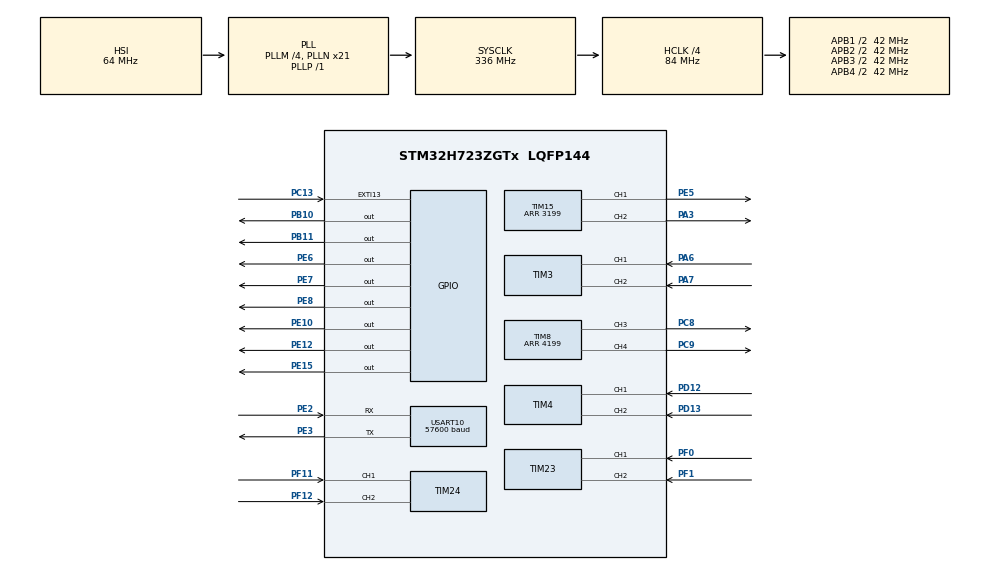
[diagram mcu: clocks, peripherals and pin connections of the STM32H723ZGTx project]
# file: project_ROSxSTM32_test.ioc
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Dma.Request0=USART10_RX
Dma.Request1=USART10_TX
Dma.USART10_RX.0.Direction=DMA_PERIPH_TO_MEMORY
Dma.USART10_RX.0.EventEnable=DISABLE
Dma.USART10_RX.0.FIFOMode=DMA_FIFOMODE_DISABLE
Dma.USART10_RX.0.Instance=DMA1_Stream0
Dma.USART10_RX.0.MemDataAlignment=DMA_MDATAALIGN_BYTE
Dma.USART10_RX.0.MemInc=DMA_MINC_ENABLE
Dma.USART10_RX.0.Mode=DMA_CIRCULAR
Dma.USART10_RX.0.PeriphDataAlignment=DMA_PDATAALIGN_BYTE
Dma.USART10_RX.0.PeriphInc=DMA_PINC_DISABLE
Dma.USART10_RX.0.Polarity=HAL_DMAMUX_REQ_GEN_RISING
Dma.USART10_RX.0.Priority=DMA_PRIORITY_HIGH
Dma.USART10_RX.0.RequestNumber=1
Dma.USART10_RX.0.SignalID=NONE
Dma.USART10_RX.0.SyncEnable=DISABLE
Dma.USART10_RX.0.SyncPolarity=HAL_DMAMUX_SYNC_NO_EVENT
Dma.USART10_RX.0.SyncRequestNumber=1
Dma.USART10_RX.0.SyncSignalID=NONE
Dma.USART10_TX.1.Direction=DMA_MEMORY_TO_PERIPH
Dma.USART10_TX.1.EventEnable=DISABLE
Dma.USART10_TX.1.FIFOMode=DMA_FIFOMODE_DISABLE
Dma.USART10_TX.1.Instance=DMA1_Stream1
Dma.USART10_TX.1.MemDataAlignment=DMA_MDATAALIGN_BYTE
Dma.USART10_TX.1.MemInc=DMA_MINC_ENABLE
Dma.USART10_TX.1.Mode=DMA_NORMAL
Dma.USART10_TX.1.PeriphDataAlignment=DMA_PDATAALIGN_BYTE
Dma.USART10_TX.1.PeriphInc=DMA_PINC_DISABLE
Dma.USART10_TX.1.Polarity=HAL_DMAMUX_REQ_GEN_RISING
Dma.USART10_TX.1.Priority=DMA_PRIORITY_HIGH
Dma.USART10_TX.1.RequestNumber=1
Dma.USART10_TX.1.SignalID=NONE
Dma.USART10_TX.1.SyncEnable=DISABLE
Dma.USART10_TX.1.SyncPolarity=HAL_DMAMUX_SYNC_NO_EVENT
Dma.USART10_TX.1.SyncRequestNumber=1
Dma.USART10_TX.1.SyncSignalID=NONE
Mcu.Family=STM32H7
Mcu.Name=STM32H723ZGTx
Mcu.Package=LQFP144
NVIC.DMA1_Stream0_IRQn=true\:0\:0\:false\:false\:true\:false\:true\:true
NVIC.DMA1_Stream1_IRQn=true\:0\:0\:false\:false\:true\:false\:true\:true
NVIC.EXTI15_10_IRQn=true\:0\:0\:false\:false\:true\:true\:true\:true
NVIC.PriorityGroup=NVIC_PRIORITYGROUP_4
NVIC.RCC_IRQn=true\:0\:0\:false\:false\:true\:true\:false\:true
NVIC.TIM2_IRQn=true\:0\:0\:false\:false\:true\:true\:true\:true
NVIC.TIM5_IRQn=true\:0\:0\:false\:false\:true\:true\:true\:true
NVIC.USART10_IRQn=true\:0\:0\:false\:false\:true\:true\:true\:true
PA3.Signal=S_TIM15_CH2
PA6.Signal=S_TIM3_CH1
PA7.Signal=S_TIM3_CH2
PB10.Signal=GPIO_Output
PB11.Signal=GPIO_Output
PC13.Signal=GPXTI13
PC8.Signal=S_TIM8_CH3
PC9.Signal=S_TIM8_CH4
PD12.Signal=S_TIM4_CH1
PD13.Signal=S_TIM4_CH2
PE10.Signal=GPIO_Output
PE12.Signal=GPIO_Output
PE15.Signal=GPIO_Output
PE2.Mode=Asynchronous
PE2.Signal=USART10_RX
PE3.Mode=Asynchronous
PE3.Signal=USART10_TX
PE5.Signal=S_TIM15_CH1
PE6.Signal=GPIO_Output
PE7.Signal=GPIO_Output
PE8.Signal=GPIO_Output
PF0.Mode=Encoder_Interface
PF0.Signal=TIM23_CH1
PF1.Signal=S_TIM23_CH2
PF11.Mode=Encoder_Interface
PF11.Signal=TIM24_CH1
PF12.Signal=S_TIM24_CH2
PH0-OSC_IN.Mode=HSE-External-Clock-Source
PH0-OSC_IN.Signal=RCC_OSC_IN
ProjectManager.HeapSize=0x200
ProjectManager.StackSize=0x400
ProjectManager.TargetToolchain=STM32CubeIDE
RCC.ADCFreq_Value=129000000
RCC.APB1Freq_Value=42000000
RCC.APB2Freq_Value=42000000
RCC.APB3Freq_Value=42000000
RCC.APB4Freq_Value=42000000
RCC.CortexFreq_Value=168000000
RCC.D1CPRE=RCC_SYSCLK_DIV2
RCC.D1PPRE=RCC_APB3_DIV2
RCC.D2PPRE1=RCC_APB1_DIV2
RCC.D2PPRE2=RCC_APB2_DIV2
RCC.D3PPRE=RCC_APB4_DIV2
RCC.DIVM1=4
RCC.DIVN1=21
RCC.DIVP1=1
RCC.HCLKFreq_Value=84000000
RCC.HPRE=RCC_HCLK_DIV2
RCC.HSE_VALUE=8000000
RCC.PLL2FRACN=0
RCC.PLL3FRACN=0
RCC.PLLFRACN=0
RCC.SYSCLKFreq_VALUE=336000000
RCC.SYSCLKSource=RCC_SYSCLKSOURCE_PLLCLK
RCC.USBFreq_Value=168000000
SH.S_TIM15_CH1.0=TIM15_CH1,PWM Generation1 CH1
SH.S_TIM15_CH2.0=TIM15_CH2,PWM Generation2 CH2
SH.S_TIM23_CH2.0=TIM23_CH2,Encoder_Interface
SH.S_TIM24_CH2.0=TIM24_CH2,Encoder_Interface
SH.S_TIM3_CH1.0=TIM3_CH1,Encoder_Interface
SH.S_TIM3_CH2.0=TIM3_CH2,Encoder_Interface
SH.S_TIM4_CH1.0=TIM4_CH1,Encoder_Interface
SH.S_TIM4_CH2.0=TIM4_CH2,Encoder_Interface
SH.S_TIM8_CH3.0=TIM8_CH3,PWM Generation3 CH3
SH.S_TIM8_CH4.0=TIM8_CH4,PWM Generation4 CH4
TIM15.Channel-PWM\ Generation1\ CH1=TIM_CHANNEL_1
TIM15.Channel-PWM\ Generation2\ CH2=TIM_CHANNEL_2
TIM15.Period=3199
TIM2.Period=19999
TIM2.Prescaler=83
TIM23.EncoderMode=TIM_ENCODERMODE_TI12
TIM24.EncoderMode=TIM_ENCODERMODE_TI12
TIM3.EncoderMode=TIM_ENCODERMODE_TI12
TIM4.EncoderMode=TIM_ENCODERMODE_TI12
TIM5.Period=999
TIM5.Prescaler=83
TIM8.Channel-PWM\ Generation3\ CH3=TIM_CHANNEL_3
TIM8.Channel-PWM\ Generation4\ CH4=TIM_CHANNEL_4
TIM8.Period=4199
USART10.BaudRate=57600
USART10.VirtualMode-Asynchronous=VM_ASYNC
VP_TIM2_VS_ClockSourceINT.Mode=Internal
VP_TIM5_VS_ClockSourceINT.Mode=Internal
board=custom

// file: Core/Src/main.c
/* USER CODE BEGIN Header */
/**
  ******************************************************************************
  * @file           : main.c
  * @brief          : Main program body
  ******************************************************************************
  * @attention
  *
  * Copyright (c) 2023 STMicroelectronics.
  * All rights reserved.
  *
  * This software is licensed under terms that can be found in the LICENSE file
  * in the root directory of this software component.
  * If no LICENSE file comes with this software, it is provided AS-IS.
  *
  ******************************************************************************
  */
/* USER CODE END Header */
#include "main.h"

/* USER CODE BEGIN Includes */
#include "mainpp.h"
#include "PID.h"
#include "timing.h"
/* USER CODE END Includes */

/* USER CODE BEGIN PM */
void SV_Limit(double SV[], double max){
	double temp_SV;
	for (int i = 0; i < 4; i++) {
		if (SV[i] > max){
			temp_SV = max / SV[i];
			for (int j = 0; j < 4; j++) SV[j] *= temp_SV;
		}else if (SV[i] < (max * -1)){
			temp_SV = (max * -1) / SV[i];
			for (int j = 0; j < 4; j++) SV[j] *= temp_SV;
		}
	}
}
/* USER CODE END PM */

TIM_HandleTypeDef htim2;
TIM_HandleTypeDef htim3;
TIM_HandleTypeDef htim4;
TIM_HandleTypeDef htim5;
TIM_HandleTypeDef htim8;
TIM_HandleTypeDef htim15;
TIM_HandleTypeDef htim23;
TIM_HandleTypeDef htim24;

UART_HandleTypeDef huart10;
DMA_HandleTypeDef hdma_usart10_rx;
DMA_HandleTypeDef hdma_usart10_tx;

void SystemClock_Config(void);
static void MX_GPIO_Init(void);
static void MX_DMA_Init(void);
static void MX_USART10_UART_Init(void);
static void MX_TIM3_Init(void);
static void MX_TIM4_Init(void);
static void MX_TIM5_Init(void);
static void MX_TIM8_Init(void);
static void MX_TIM15_Init(void);
static void MX_TIM23_Init(void);
static void MX_TIM24_Init(void);
static void MX_TIM2_Init(void);

int main(void)
{

  /* MCU Configuration--------------------------------------------------------*/

  /* Reset of all peripherals, Initializes the Flash interface and the Systick. */
  HAL_Init();

  /* Configure the system clock */
  SystemClock_Config();

  /* Initialize all configured peripherals */
  MX_GPIO_Init();
  MX_DMA_Init();
  MX_USART10_UART_Init();
  MX_TIM3_Init();
  MX_TIM4_Init();
  MX_TIM5_Init();
  MX_TIM8_Init();
  MX_TIM15_Init();
  MX_TIM23_Init();
  MX_TIM24_Init();
  MX_TIM2_Init();
  /* USER CODE BEGIN 2 */
  	HAL_TIM_Base_Start_IT(&htim5);
  	HAL_TIM_Base_Start_IT(&htim2);
    HAL_TIM_PWM_Start(&htim8, TIM_CHANNEL_3);
    HAL_TIM_PWM_Start(&htim8, TIM_CHANNEL_4);
    HAL_TIM_PWM_Start(&htim15, TIM_CHANNEL_1);
    HAL_TIM_PWM_Start(&htim15, TIM_CHANNEL_2);
    HAL_TIM_Encoder_Start(&htim24, TIM_CHANNEL_1);
    HAL_TIM_Encoder_Start(&htim24, TIM_CHANNEL_2);
    HAL_TIM_Encoder_Start(&htim3, TIM_CHANNEL_1);
    HAL_TIM_Encoder_Start(&htim3, TIM_CHANNEL_2);
    HAL_TIM_Encoder_Start(&htim4, TIM_CHANNEL_1);
    HAL_TIM_Encoder_Start(&htim4, TIM_CHANNEL_2);
    HAL_TIM_Encoder_Start(&htim23, TIM_CHANNEL_1);
    HAL_TIM_Encoder_Start(&htim23, TIM_CHANNEL_2);

    setup();
  /* USER CODE END 2 */

  /* Infinite loop */
  while (1)
  {

    /* USER CODE BEGIN 3 */
		loop();
  }
  /* USER CODE END 3 */
}

void SystemClock_Config(void)
{
  RCC_OscInitTypeDef RCC_OscInitStruct = {0};
  RCC_ClkInitTypeDef RCC_ClkInitStruct = {0};

  /** Supply configuration update enable
  */
  HAL_PWREx_ConfigSupply(PWR_LDO_SUPPLY);

  /** Configure the main internal regulator output voltage
  */
  __HAL_PWR_VOLTAGESCALING_CONFIG(PWR_REGULATOR_VOLTAGE_SCALE3);

  while(!__HAL_PWR_GET_FLAG(PWR_FLAG_VOSRDY)) {}

  /** Initializes the RCC Oscillators according to the specified parameters
  * in the RCC_OscInitTypeDef structure.
  */
  RCC_OscInitStruct.OscillatorType = RCC_OSCILLATORTYPE_HSI;
  RCC_OscInitStruct.HSIState = RCC_HSI_DIV1;
  RCC_OscInitStruct.HSICalibrationValue = RCC_HSICALIBRATION_DEFAULT;
  RCC_OscInitStruct.PLL.PLLState = RCC_PLL_ON;
  RCC_OscInitStruct.PLL.PLLSource = RCC_PLLSOURCE_HSI;
  RCC_OscInitStruct.PLL.PLLM = 4;
  RCC_OscInitStruct.PLL.PLLN = 21;
  RCC_OscInitStruct.PLL.PLLP = 1;
  RCC_OscInitStruct.PLL.PLLQ = 2;
  RCC_OscInitStruct.PLL.PLLR = 2;
  RCC_OscInitStruct.PLL.PLLRGE = RCC_PLL1VCIRANGE_3;
  RCC_OscInitStruct.PLL.PLLVCOSEL = RCC_PLL1VCOWIDE;
  RCC_OscInitStruct.PLL.PLLFRACN = 0;
  if (HAL_RCC_OscConfig(&RCC_OscInitStruct) != HAL_OK)
  {
    Error_Handler();
  }

  /** Initializes the CPU, AHB and APB buses clocks
  */
  RCC_ClkInitStruct.ClockType = RCC_CLOCKTYPE_HCLK|RCC_CLOCKTYPE_SYSCLK
                              |RCC_CLOCKTYPE_PCLK1|RCC_CLOCKTYPE_PCLK2
                              |RCC_CLOCKTYPE_D3PCLK1|RCC_CLOCKTYPE_D1PCLK1;
  RCC_ClkInitStruct.SYSCLKSource = RCC_SYSCLKSOURCE_PLLCLK;
  RCC_ClkInitStruct.SYSCLKDivider = RCC_SYSCLK_DIV2;
  RCC_ClkInitStruct.AHBCLKDivider = RCC_HCLK_DIV2;
  RCC_ClkInitStruct.APB3CLKDivider = RCC_APB3_DIV2;
  RCC_ClkInitStruct.APB1CLKDivider = RCC_APB1_DIV2;
  RCC_ClkInitStruct.APB2CLKDivider = RCC_APB2_DIV2;
  RCC_ClkInitStruct.APB4CLKDivider = RCC_APB4_DIV2;

  if (HAL_RCC_ClockConfig(&RCC_ClkInitStruct, FLASH_LATENCY_2) != HAL_OK)
  {
    Error_Handler();
  }
}

static void MX_TIM2_Init(void)
{

  TIM_ClockConfigTypeDef sClockSourceConfig = {0};
  TIM_MasterConfigTypeDef sMasterConfig = {0};

  htim2.Instance = TIM2;
  htim2.Init.Prescaler = 83;
  htim2.Init.CounterMode = TIM_COUNTERMODE_UP;
  htim2.Init.Period = 19999;
  htim2.Init.ClockDivision = TIM_CLOCKDIVISION_DIV1;
  htim2.Init.AutoReloadPreload = TIM_AUTORELOAD_PRELOAD_DISABLE;
  if (HAL_TIM_Base_Init(&htim2) != HAL_OK)
  {
    Error_Handler();
  }
  sClockSourceConfig.ClockSource = TIM_CLOCKSOURCE_INTERNAL;
  if (HAL_TIM_ConfigClockSource(&htim2, &sClockSourceConfig) != HAL_OK)
  {
    Error_Handler();
  }
  sMasterConfig.MasterOutputTrigger = TIM_TRGO_RESET;
  sMasterConfig.MasterSlaveMode = TIM_MASTERSLAVEMODE_DISABLE;
  if (HAL_TIMEx_MasterConfigSynchronization(&htim2, &sMasterConfig) != HAL_OK)
  {
    Error_Handler();
  }

}

static void MX_TIM3_Init(void)
{

  TIM_Encoder_InitTypeDef sConfig = {0};
  TIM_MasterConfigTypeDef sMasterConfig = {0};

  htim3.Instance = TIM3;
  htim3.Init.Prescaler = 0;
  htim3.Init.CounterMode = TIM_COUNTERMODE_UP;
  htim3.Init.Period = 65535;
  htim3.Init.ClockDivision = TIM_CLOCKDIVISION_DIV1;
  htim3.Init.AutoReloadPreload = TIM_AUTORELOAD_PRELOAD_DISABLE;
  sConfig.EncoderMode = TIM_ENCODERMODE_TI12;
  sConfig.IC1Polarity = TIM_ICPOLARITY_RISING;
  sConfig.IC1Selection = TIM_ICSELECTION_DIRECTTI;
  sConfig.IC1Prescaler = TIM_ICPSC_DIV1;
  sConfig.IC1Filter = 0;
  sConfig.IC2Polarity = TIM_ICPOLARITY_RISING;
  sConfig.IC2Selection = TIM_ICSELECTION_DIRECTTI;
  sConfig.IC2Prescaler = TIM_ICPSC_DIV1;
  sConfig.IC2Filter = 0;
  if (HAL_TIM_Encoder_Init(&htim3, &sConfig) != HAL_OK)
  {
    Error_Handler();
  }
  sMasterConfig.MasterOutputTrigger = TIM_TRGO_RESET;
  sMasterConfig.MasterSlaveMode = TIM_MASTERSLAVEMODE_DISABLE;
  if (HAL_TIMEx_MasterConfigSynchronization(&htim3, &sMasterConfig) != HAL_OK)
  {
    Error_Handler();
  }

}

static void MX_TIM4_Init(void)
{

  TIM_Encoder_InitTypeDef sConfig = {0};
  TIM_MasterConfigTypeDef sMasterConfig = {0};

  htim4.Instance = TIM4;
  htim4.Init.Prescaler = 0;
  htim4.Init.CounterMode = TIM_COUNTERMODE_UP;
  htim4.Init.Period = 65535;
  htim4.Init.ClockDivision = TIM_CLOCKDIVISION_DIV1;
  htim4.Init.AutoReloadPreload = TIM_AUTORELOAD_PRELOAD_DISABLE;
  sConfig.EncoderMode = TIM_ENCODERMODE_TI12;
  sConfig.IC1Polarity = TIM_ICPOLARITY_RISING;
  sConfig.IC1Selection = TIM_ICSELECTION_DIRECTTI;
  sConfig.IC1Prescaler = TIM_ICPSC_DIV1;
  sConfig.IC1Filter = 0;
  sConfig.IC2Polarity = TIM_ICPOLARITY_RISING;
  sConfig.IC2Selection = TIM_ICSELECTION_DIRECTTI;
  sConfig.IC2Prescaler = TIM_ICPSC_DIV1;
  sConfig.IC2Filter = 0;
  if (HAL_TIM_Encoder_Init(&htim4, &sConfig) != HAL_OK)
  {
    Error_Handler();
  }
  sMasterConfig.MasterOutputTrigger = TIM_TRGO_RESET;
  sMasterConfig.MasterSlaveMode = TIM_MASTERSLAVEMODE_DISABLE;
  if (HAL_TIMEx_MasterConfigSynchronization(&htim4, &sMasterConfig) != HAL_OK)
  {
    Error_Handler();
  }

}

static void MX_TIM5_Init(void)
{

  TIM_ClockConfigTypeDef sClockSourceConfig = {0};
  TIM_MasterConfigTypeDef sMasterConfig = {0};

  htim5.Instance = TIM5;
  htim5.Init.Prescaler = 83;
  htim5.Init.CounterMode = TIM_COUNTERMODE_UP;
  htim5.Init.Period = 999;
  htim5.Init.ClockDivision = TIM_CLOCKDIVISION_DIV1;
  htim5.Init.AutoReloadPreload = TIM_AUTORELOAD_PRELOAD_DISABLE;
  if (HAL_TIM_Base_Init(&htim5) != HAL_OK)
  {
    Error_Handler();
  }
  sClockSourceConfig.ClockSource = TIM_CLOCKSOURCE_INTERNAL;
  if (HAL_TIM_ConfigClockSource(&htim5, &sClockSourceConfig) != HAL_OK)
  {
    Error_Handler();
  }
  sMasterConfig.MasterOutputTrigger = TIM_TRGO_RESET;
  sMasterConfig.MasterSlaveMode = TIM_MASTERSLAVEMODE_DISABLE;
  if (HAL_TIMEx_MasterConfigSynchronization(&htim5, &sMasterConfig) != HAL_OK)
  {
    Error_Handler();
  }

}

static void MX_TIM8_Init(void)
{

  TIM_MasterConfigTypeDef sMasterConfig = {0};
  TIM_OC_InitTypeDef sConfigOC = {0};
  TIM_BreakDeadTimeConfigTypeDef sBreakDeadTimeConfig = {0};

  htim8.Instance = TIM8;
  htim8.Init.Prescaler = 0;
  htim8.Init.CounterMode = TIM_COUNTERMODE_UP;
  htim8.Init.Period = 4199;
  htim8.Init.ClockDivision = TIM_CLOCKDIVISION_DIV1;
  htim8.Init.RepetitionCounter = 0;
  htim8.Init.AutoReloadPreload = TIM_AUTORELOAD_PRELOAD_DISABLE;
  if (HAL_TIM_PWM_Init(&htim8) != HAL_OK)
  {
    Error_Handler();
  }
  sMasterConfig.MasterOutputTrigger = TIM_TRGO_RESET;
  sMasterConfig.MasterOutputTrigger2 = TIM_TRGO2_RESET;
  sMasterConfig.MasterSlaveMode = TIM_MASTERSLAVEMODE_DISABLE;
  if (HAL_TIMEx_MasterConfigSynchronization(&htim8, &sMasterConfig) != HAL_OK)
  {
    Error_Handler();
  }
  sConfigOC.OCMode = TIM_OCMODE_PWM1;
  sConfigOC.Pulse = 0;
  sConfigOC.OCPolarity = TIM_OCPOLARITY_HIGH;
  sConfigOC.OCNPolarity = TIM_OCNPOLARITY_HIGH;
  sConfigOC.OCFastMode = TIM_OCFAST_DISABLE;
  sConfigOC.OCIdleState = TIM_OCIDLESTATE_RESET;
  sConfigOC.OCNIdleState = TIM_OCNIDLESTATE_RESET;
  if (HAL_TIM_PWM_ConfigChannel(&htim8, &sConfigOC, TIM_CHANNEL_3) != HAL_OK)
  {
    Error_Handler();
  }
  if (HAL_TIM_PWM_ConfigChannel(&htim8, &sConfigOC, TIM_CHANNEL_4) != HAL_OK)
  {
    Error_Handler();
  }
  sBreakDeadTimeConfig.OffStateRunMode = TIM_OSSR_DISABLE;
  sBreakDeadTimeConfig.OffStateIDLEMode = TIM_OSSI_DISABLE;
  sBreakDeadTimeConfig.LockLevel = TIM_LOCKLEVEL_OFF;
  sBreakDeadTimeConfig.DeadTime = 0;
  sBreakDeadTimeConfig.BreakState = TIM_BREAK_DISABLE;
  sBreakDeadTimeConfig.BreakPolarity = TIM_BREAKPOLARITY_HIGH;
  sBreakDeadTimeConfig.BreakFilter = 0;
  sBreakDeadTimeConfig.Break2State = TIM_BREAK2_DISABLE;
  sBreakDeadTimeConfig.Break2Polarity = TIM_BREAK2POLARITY_HIGH;
  sBreakDeadTimeConfig.Break2Filter = 0;
  sBreakDeadTimeConfig.AutomaticOutput = TIM_AUTOMATICOUTPUT_DISABLE;
  if (HAL_TIMEx_ConfigBreakDeadTime(&htim8, &sBreakDeadTimeConfig) != HAL_OK)
  {
    Error_Handler();
  }
  HAL_TIM_MspPostInit(&htim8);

}

static void MX_TIM15_Init(void)
{

  TIM_MasterConfigTypeDef sMasterConfig = {0};
  TIM_OC_InitTypeDef sConfigOC = {0};
  TIM_BreakDeadTimeConfigTypeDef sBreakDeadTimeConfig = {0};

  htim15.Instance = TIM15;
  htim15.Init.Prescaler = 0;
  htim15.Init.CounterMode = TIM_COUNTERMODE_UP;
  htim15.Init.Period = 3199;
  htim15.Init.ClockDivision = TIM_CLOCKDIVISION_DIV1;
  htim15.Init.RepetitionCounter = 0;
  htim15.Init.AutoReloadPreload = TIM_AUTORELOAD_PRELOAD_DISABLE;
  if (HAL_TIM_PWM_Init(&htim15) != HAL_OK)
  {
    Error_Handler();
  }
  sMasterConfig.MasterOutputTrigger = TIM_TRGO_RESET;
  sMasterConfig.MasterSlaveMode = TIM_MASTERSLAVEMODE_DISABLE;
  if (HAL_TIMEx_MasterConfigSynchronization(&htim15, &sMasterConfig) != HAL_OK)
  {
    Error_Handler();
  }
  sConfigOC.OCMode = TIM_OCMODE_PWM1;
  sConfigOC.Pulse = 0;
  sConfigOC.OCPolarity = TIM_OCPOLARITY_HIGH;
  sConfigOC.OCNPolarity = TIM_OCNPOLARITY_HIGH;
  sConfigOC.OCFastMode = TIM_OCFAST_DISABLE;
  sConfigOC.OCIdleState = TIM_OCIDLESTATE_RESET;
  sConfigOC.OCNIdleState = TIM_OCNIDLESTATE_RESET;
  if (HAL_TIM_PWM_ConfigChannel(&htim15, &sConfigOC, TIM_CHANNEL_1) != HAL_OK)
  {
    Error_Handler();
  }
  if (HAL_TIM_PWM_ConfigChannel(&htim15, &sConfigOC, TIM_CHANNEL_2) != HAL_OK)
  {
    Error_Handler();
  }
  sBreakDeadTimeConfig.OffStateRunMode = TIM_OSSR_DISABLE;
  sBreakDeadTimeConfig.OffStateIDLEMode = TIM_OSSI_DISABLE;
  sBreakDeadTimeConfig.LockLevel = TIM_LOCKLEVEL_OFF;
  sBreakDeadTimeConfig.DeadTime = 0;
  sBreakDeadTimeConfig.BreakState = TIM_BREAK_DISABLE;
  sBreakDeadTimeConfig.BreakPolarity = TIM_BREAKPOLARITY_HIGH;
  sBreakDeadTimeConfig.BreakFilter = 0;
  sBreakDeadTimeConfig.AutomaticOutput = TIM_AUTOMATICOUTPUT_DISABLE;
  if (HAL_TIMEx_ConfigBreakDeadTime(&htim15, &sBreakDeadTimeConfig) != HAL_OK)
  {
    Error_Handler();
  }
  HAL_TIM_MspPostInit(&htim15);

}

static void MX_TIM23_Init(void)
{

  TIM_Encoder_InitTypeDef sConfig = {0};
  TIM_MasterConfigTypeDef sMasterConfig = {0};

  htim23.Instance = TIM23;
  htim23.Init.Prescaler = 0;
  htim23.Init.CounterMode = TIM_COUNTERMODE_UP;
  htim23.Init.Period = 4294967295;
  htim23.Init.ClockDivision = TIM_CLOCKDIVISION_DIV1;
  htim23.Init.AutoReloadPreload = TIM_AUTORELOAD_PRELOAD_DISABLE;
  sConfig.EncoderMode = TIM_ENCODERMODE_TI12;
  sConfig.IC1Polarity = TIM_ICPOLARITY_RISING;
  sConfig.IC1Selection = TIM_ICSELECTION_DIRECTTI;
  sConfig.IC1Prescaler = TIM_ICPSC_DIV1;
  sConfig.IC1Filter = 0;
  sConfig.IC2Polarity = TIM_ICPOLARITY_RISING;
  sConfig.IC2Selection = TIM_ICSELECTION_DIRECTTI;
  sConfig.IC2Prescaler = TIM_ICPSC_DIV1;
  sConfig.IC2Filter = 0;
  if (HAL_TIM_Encoder_Init(&htim23, &sConfig) != HAL_OK)
  {
    Error_Handler();
  }
  sMasterConfig.MasterOutputTrigger = TIM_TRGO_RESET;
  sMasterConfig.MasterSlaveMode = TIM_MASTERSLAVEMODE_DISABLE;
  if (HAL_TIMEx_MasterConfigSynchronization(&htim23, &sMasterConfig) != HAL_OK)
  {
    Error_Handler();
  }

}

static void MX_TIM24_Init(void)
{

  TIM_Encoder_InitTypeDef sConfig = {0};
  TIM_MasterConfigTypeDef sMasterConfig = {0};

  htim24.Instance = TIM24;
  htim24.Init.Prescaler = 0;
  htim24.Init.CounterMode = TIM_COUNTERMODE_UP;
  htim24.Init.Period = 4294967295;
  htim24.Init.ClockDivision = TIM_CLOCKDIVISION_DIV1;
  htim24.Init.AutoReloadPreload = TIM_AUTORELOAD_PRELOAD_DISABLE;
  sConfig.EncoderMode = TIM_ENCODERMODE_TI12;
  sConfig.IC1Polarity = TIM_ICPOLARITY_RISING;
  sConfig.IC1Selection = TIM_ICSELECTION_DIRECTTI;
  sConfig.IC1Prescaler = TIM_ICPSC_DIV1;
  sConfig.IC1Filter = 0;
  sConfig.IC2Polarity = TIM_ICPOLARITY_RISING;
  sConfig.IC2Selection = TIM_ICSELECTION_DIRECTTI;
  sConfig.IC2Prescaler = TIM_ICPSC_DIV1;
  sConfig.IC2Filter = 0;
  if (HAL_TIM_Encoder_Init(&htim24, &sConfig) != HAL_OK)
  {
    Error_Handler();
  }
  sMasterConfig.MasterOutputTrigger = TIM_TRGO_RESET;
  sMasterConfig.MasterSlaveMode = TIM_MASTERSLAVEMODE_DISABLE;
  if (HAL_TIMEx_MasterConfigSynchronization(&htim24, &sMasterConfig) != HAL_OK)
  {
    Error_Handler();
  }

}

static void MX_USART10_UART_Init(void)
{

  huart10.Instance = USART10;
  huart10.Init.BaudRate = 57600;
  huart10.Init.WordLength = UART_WORDLENGTH_8B;
  huart10.Init.StopBits = UART_STOPBITS_1;
  huart10.Init.Parity = UART_PARITY_NONE;
  huart10.Init.Mode = UART_MODE_TX_RX;
  huart10.Init.HwFlowCtl = UART_HWCONTROL_NONE;
  huart10.Init.OverSampling = UART_OVERSAMPLING_16;
  huart10.Init.OneBitSampling = UART_ONE_BIT_SAMPLE_DISABLE;
  huart10.Init.ClockPrescaler = UART_PRESCALER_DIV1;
  huart10.AdvancedInit.AdvFeatureInit = UART_ADVFEATURE_NO_INIT;
  if (HAL_UART_Init(&huart10) != HAL_OK)
  {
    Error_Handler();
  }
  if (HAL_UARTEx_SetTxFifoThreshold(&huart10, UART_TXFIFO_THRESHOLD_1_8) != HAL_OK)
  {
    Error_Handler();
  }
  if (HAL_UARTEx_SetRxFifoThreshold(&huart10, UART_RXFIFO_THRESHOLD_1_8) != HAL_OK)
  {
    Error_Handler();
  }
  if (HAL_UARTEx_DisableFifoMode(&huart10) != HAL_OK)
  {
    Error_Handler();
  }

}

static void MX_DMA_Init(void)
{

  /* DMA controller clock enable */
  __HAL_RCC_DMA1_CLK_ENABLE();

  /* DMA interrupt init */
  /* DMA1_Stream0_IRQn interrupt configuration */
  HAL_NVIC_SetPriority(DMA1_Stream0_IRQn, 0, 0);
  HAL_NVIC_EnableIRQ(DMA1_Stream0_IRQn);
  /* DMA1_Stream1_IRQn interrupt configuration */
  HAL_NVIC_SetPriority(DMA1_Stream1_IRQn, 0, 0);
  HAL_NVIC_EnableIRQ(DMA1_Stream1_IRQn);

}

static void MX_GPIO_Init(void)
{
  GPIO_InitTypeDef GPIO_InitStruct = {0};

  /* GPIO Ports Clock Enable */
  __HAL_RCC_GPIOE_CLK_ENABLE();
  __HAL_RCC_GPIOC_CLK_ENABLE();
  __HAL_RCC_GPIOF_CLK_ENABLE();
  __HAL_RCC_GPIOH_CLK_ENABLE();
  __HAL_RCC_GPIOA_CLK_ENABLE();
  __HAL_RCC_GPIOB_CLK_ENABLE();
  __HAL_RCC_GPIOD_CLK_ENABLE();

  /*Configure GPIO pin Output Level */
  HAL_GPIO_WritePin(GPIOE, GPIO_PIN_6|GPIO_PIN_7|GPIO_PIN_8|GPIO_PIN_10
                          |GPIO_PIN_12|GPIO_PIN_15, GPIO_PIN_RESET);

  /*Configure GPIO pin Output Level */
  HAL_GPIO_WritePin(GPIOB, GPIO_PIN_10|GPIO_PIN_11, GPIO_PIN_RESET);

  /*Configure GPIO pins : PE6 PE7 PE8 PE10
                           PE12 PE15 */
  GPIO_InitStruct.Pin = GPIO_PIN_6|GPIO_PIN_7|GPIO_PIN_8|GPIO_PIN_10
                          |GPIO_PIN_12|GPIO_PIN_15;
  GPIO_InitStruct.Mode = GPIO_MODE_OUTPUT_PP;
  GPIO_InitStruct.Pull = GPIO_NOPULL;
  GPIO_InitStruct.Speed = GPIO_SPEED_FREQ_LOW;
  HAL_GPIO_Init(GPIOE, &GPIO_InitStruct);

  /*Configure GPIO pin : PC13 */
  GPIO_InitStruct.Pin = GPIO_PIN_13;
  GPIO_InitStruct.Mode = GPIO_MODE_IT_RISING;
  GPIO_InitStruct.Pull = GPIO_NOPULL;
  HAL_GPIO_Init(GPIOC, &GPIO_InitStruct);

  /*Configure GPIO pins : PB10 PB11 */
  GPIO_InitStruct.Pin = GPIO_PIN_10|GPIO_PIN_11;
  GPIO_InitStruct.Mode = GPIO_MODE_OUTPUT_PP;
  GPIO_InitStruct.Pull = GPIO_NOPULL;
  GPIO_InitStruct.Speed = GPIO_SPEED_FREQ_LOW;
  HAL_GPIO_Init(GPIOB, &GPIO_InitStruct);

  /* EXTI interrupt init*/
  HAL_NVIC_SetPriority(EXTI15_10_IRQn, 0, 0);
  HAL_NVIC_EnableIRQ(EXTI15_10_IRQn);

}

void Error_Handler(void)
{
  __disable_irq();
  while (1)
  {
  }
}
